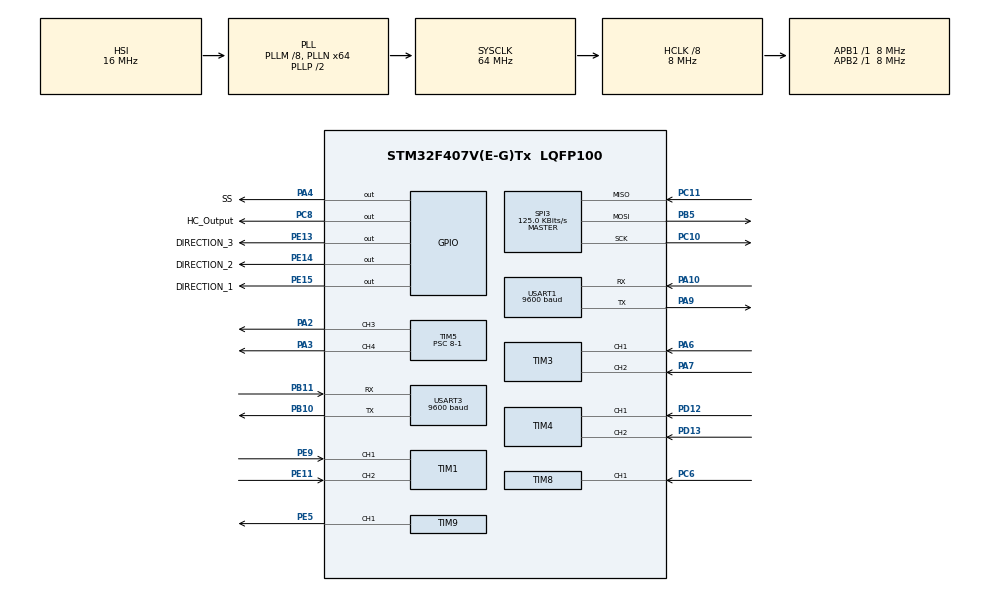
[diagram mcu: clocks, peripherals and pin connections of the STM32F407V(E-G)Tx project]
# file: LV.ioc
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FREERTOS.Queues01=AxisDesireQueue,20,uint8_t,0,Dynamic,NULL,NULL
FREERTOS.Tasks01=CONTROL,24,128,StartControl,Default,NULL,Dynamic,NULL,NULL;AxisXYDesire,24,128,StartAxisXYDesire,Default,NULL,Dynamic,NULL,NULL;AutoRun,48,128,StartAutoRun,Default,NULL,Dynamic,NULL,NULL;WitMotion,40,128,StartTaskWit,Default,NULL,Dynamic,NULL,NULL;myPID,24,128,StartPID,Default,NULL,Dynamic,NULL,NULL
FREERTOS.configGENERATE_RUN_TIME_STATS=1
FREERTOS.configRECORD_STACK_HIGH_ADDRESS=1
FREERTOS.configUSE_STATS_FORMATTING_FUNCTIONS=1
Mcu.Family=STM32F4
Mcu.Name=STM32F407V(E-G)Tx
Mcu.Package=LQFP100
NVIC.PriorityGroup=NVIC_PRIORITYGROUP_4
NVIC.TIM1_UP_TIM10_IRQn=true\:15\:0\:false\:false\:true\:false\:false\:true\:true
NVIC.TIM8_CC_IRQn=true\:5\:0\:false\:false\:true\:true\:true\:true\:true
NVIC.TimeBase=TIM1_UP_TIM10_IRQn
NVIC.TimeBaseIP=TIM10
NVIC.USART1_IRQn=true\:5\:0\:false\:false\:true\:true\:true\:true\:true
NVIC.USART3_IRQn=true\:5\:0\:false\:false\:true\:true\:true\:true\:true
PA10.Mode=Asynchronous
PA10.Signal=USART1_RX
PA13.Mode=Serial_Wire
PA13.Signal=SYS_JTMS-SWDIO
PA14.Mode=Serial_Wire
PA14.Signal=SYS_JTCK-SWCLK
PA2.Signal=S_TIM5_CH3
PA3.Signal=S_TIM5_CH4
PA4.GPIO_Label=SS
PA4.PinState=GPIO_PIN_RESET
PA4.Signal=GPIO_Output
PA6.Signal=S_TIM3_CH1
PA7.Signal=S_TIM3_CH2
PA9.Mode=Asynchronous
PA9.Signal=USART1_TX
PB10.Mode=Asynchronous
PB10.Signal=USART3_TX
PB11.Mode=Asynchronous
PB11.Signal=USART3_RX
PB5.Mode=Full_Duplex_Master
PB5.Signal=SPI3_MOSI
PC10.Mode=Full_Duplex_Master
PC10.Signal=SPI3_SCK
PC11.Mode=Full_Duplex_Master
PC11.Signal=SPI3_MISO
PC6.Signal=S_TIM8_CH1
PC8.GPIO_Label=HC_Output
PC8.Signal=GPIO_Output
PD12.Signal=S_TIM4_CH1
PD13.Signal=S_TIM4_CH2
PE11.Signal=S_TIM1_CH2
PE13.GPIO_Label=DIRECTION_3
PE13.Signal=GPIO_Output
PE14.GPIO_Label=DIRECTION_2
PE14.Signal=GPIO_Output
PE15.GPIO_Label=DIRECTION_1
PE15.Signal=GPIO_Output
PE5.Signal=S_TIM9_CH1
PE9.Signal=S_TIM1_CH1
PH0-OSC_IN.Mode=HSE-External-Oscillator
PH0-OSC_IN.Signal=RCC_OSC_IN
PH1-OSC_OUT.Mode=HSE-External-Oscillator
PH1-OSC_OUT.Signal=RCC_OSC_OUT
ProjectManager.HeapSize=0x200
ProjectManager.StackSize=0x400
ProjectManager.TargetToolchain=STM32CubeIDE
RCC.48MHZClocksFreq_Value=32000000
RCC.AHBCLKDivider=RCC_SYSCLK_DIV8
RCC.AHBFreq_Value=8000000
RCC.APB1Freq_Value=8000000
RCC.APB1TimFreq_Value=8000000
RCC.APB2Freq_Value=8000000
RCC.APB2TimFreq_Value=8000000
RCC.CortexFreq_Value=8000000
RCC.HCLKFreq_Value=8000000
RCC.HSE_VALUE=25000000
RCC.HSI_VALUE=16000000
RCC.LSE_VALUE=32768
RCC.PLLM=8
RCC.PLLN=64
RCC.SYSCLKFreq_VALUE=64000000
RCC.SYSCLKSource=RCC_SYSCLKSOURCE_PLLCLK
RCC.VCOOutputFreq_Value=128000000
SH.S_TIM1_CH1.0=TIM1_CH1,Encoder_Interface
SH.S_TIM1_CH2.0=TIM1_CH2,Encoder_Interface
SH.S_TIM3_CH1.0=TIM3_CH1,Encoder_Interface
SH.S_TIM3_CH2.0=TIM3_CH2,Encoder_Interface
SH.S_TIM4_CH1.0=TIM4_CH1,Encoder_Interface
SH.S_TIM4_CH2.0=TIM4_CH2,Encoder_Interface
SH.S_TIM5_CH3.0=TIM5_CH3,PWM Generation3 CH3
SH.S_TIM5_CH4.0=TIM5_CH4,PWM Generation4 CH4
SH.S_TIM8_CH1.0=TIM8_CH1,Input_Capture1_from_TI1
SH.S_TIM9_CH1.0=TIM9_CH1,PWM Generation1 CH1
SPI3.BaudRatePrescaler=SPI_BAUDRATEPRESCALER_64
SPI3.CLKPhase=SPI_PHASE_2EDGE
SPI3.CLKPolarity=SPI_POLARITY_HIGH
SPI3.CalculateBaudRate=125.0 KBits/s
SPI3.Direction=SPI_DIRECTION_2LINES
SPI3.FirstBit=SPI_FIRSTBIT_LSB
SPI3.Mode=SPI_MODE_MASTER
SPI3.VirtualNSS=VM_NSSHARD
SPI3.VirtualType=VM_MASTER
TIM1.EncoderMode=TIM_ENCODERMODE_TI12
TIM3.EncoderMode=TIM_ENCODERMODE_TI12
TIM4.EncoderMode=TIM_ENCODERMODE_TI12
TIM5.Channel-PWM\ Generation3\ CH3=TIM_CHANNEL_3
TIM5.Channel-PWM\ Generation4\ CH4=TIM_CHANNEL_4
TIM5.Period=100-1
TIM5.Prescaler=8-1
TIM8.Channel-Input_Capture1_from_TI1=TIM_CHANNEL_1
TIM8.Period=0xfff-1
TIM8.Prescaler=8-1
TIM9.Channel-PWM\ Generation1\ CH1=TIM_CHANNEL_1
TIM9.Period=100-1
TIM9.Prescaler=8-1
USART1.BaudRate=9600
USART1.Mode=MODE_RX
USART1.VirtualMode=VM_ASYNC
USART3.BaudRate=9600
USART3.VirtualMode=VM_ASYNC
VP_FREERTOS_VS_CMSIS_V2.Mode=CMSIS_V2
VP_SYS_VS_tim10.Mode=TIM10
VP_TIM5_VS_ClockSourceINT.Mode=Internal
VP_TIM8_VS_ClockSourceINT.Mode=Internal
VP_TIM9_VS_ClockSourceINT.Mode=Internal
board=custom

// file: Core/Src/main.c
/* USER CODE BEGIN Header */
/**
  ******************************************************************************
  * @file           : main.c
  * @brief          : Main program body
  ******************************************************************************
  * @attention
  *
  * Copyright (c) 2024 STMicroelectronics.
  * All rights reserved.
  *
  * This software is licensed under terms that can be found in the LICENSE file
  * in the root directory of this software component.
  * If no LICENSE file comes with this software, it is provided AS-IS.
  *
  ******************************************************************************
  */
/* USER CODE END Header */
#include "main.h"
#include "cmsis_os.h"

SPI_HandleTypeDef hspi3;

TIM_HandleTypeDef htim1;
TIM_HandleTypeDef htim3;
TIM_HandleTypeDef htim4;
TIM_HandleTypeDef htim5;
TIM_HandleTypeDef htim8;
TIM_HandleTypeDef htim9;

UART_HandleTypeDef huart1;
UART_HandleTypeDef huart3;

/* Definitions for CONTROL */
osThreadId_t CONTROLHandle;
const osThreadAttr_t CONTROL_attributes = {
  .name = "CONTROL",
  .stack_size = 128 * 4,
  .priority = (osPriority_t) osPriorityNormal,
};
/* Definitions for AxisXYDesire */
osThreadId_t AxisXYDesireHandle;
const osThreadAttr_t AxisXYDesire_attributes = {
  .name = "AxisXYDesire",
  .stack_size = 128 * 4,
  .priority = (osPriority_t) osPriorityNormal,
};
/* Definitions for AutoRun */
osThreadId_t AutoRunHandle;
const osThreadAttr_t AutoRun_attributes = {
  .name = "AutoRun",
  .stack_size = 128 * 4,
  .priority = (osPriority_t) osPriorityRealtime,
};
/* Definitions for WitMotion */
osThreadId_t WitMotionHandle;
const osThreadAttr_t WitMotion_attributes = {
  .name = "WitMotion",
  .stack_size = 128 * 4,
  .priority = (osPriority_t) osPriorityHigh,
};
/* Definitions for myPID */
osThreadId_t myPIDHandle;
const osThreadAttr_t myPID_attributes = {
  .name = "myPID",
  .stack_size = 128 * 4,
  .priority = (osPriority_t) osPriorityNormal,
};
/* Definitions for AxisDesireQueue */
osMessageQueueId_t AxisDesireQueueHandle;
const osMessageQueueAttr_t AxisDesireQueue_attributes = {
  .name = "AxisDesireQueue"
};

void SystemClock_Config(void);
static void MX_GPIO_Init(void);
static void MX_TIM1_Init(void);
static void MX_TIM3_Init(void);
static void MX_TIM4_Init(void);
static void MX_TIM5_Init(void);
static void MX_TIM9_Init(void);
static void MX_SPI3_Init(void);
static void MX_TIM8_Init(void);
static void MX_USART1_UART_Init(void);
static void MX_USART3_UART_Init(void);
void StartControl(void *argument);
void StartAxisXYDesire(void *argument);
void StartAutoRun(void *argument);
void StartTaskWit(void *argument);
void StartPID(void *argument);

/* USER CODE BEGIN 0 */
PID_Param_t pid;
double out_1, out_2, out_3=0;
double rpm_1, rpm_2, rpm_3=0;

volatile double Vd=0;
volatile double Theta=0;

uint8_t select_hand=5;
uint8_t flag_V_slow=true;
uint8_t rx_data;
uint8_t Dis;

uint8_t count=0;

/**---UART6 Interrupt--*/
//#ifdef __GNUC__
//#define PUTCHAR_PROTOTYPE int __io_putchar(int ch)
//#else
//#define PUTCHAR_PROTOTYPE int fputc(int ch, FILE *f)
//#endif
//
//PUTCHAR_PROTOTYPE
//{
//  HAL_UART_Transmit(&huart2, (uint8_t *)&ch, 1, HAL_MAX_DELAY);
//  return ch;
//}
/* USER CODE END 0 */

int main(void)
{

  /* MCU Configuration--------------------------------------------------------*/

  /* Reset of all peripherals, Initializes the Flash interface and the Systick. */
  HAL_Init();

  /* Configure the system clock */
  SystemClock_Config();

  /* Initialize all configured peripherals */
  MX_GPIO_Init();
  MX_TIM1_Init();
  MX_TIM3_Init();
  MX_TIM4_Init();
  MX_TIM5_Init();
  MX_TIM9_Init();
  MX_SPI3_Init();
  MX_TIM8_Init();
  MX_USART1_UART_Init();
  MX_USART3_UART_Init();
  /* USER CODE BEGIN 2 */
//  PCA9685_Init(&hi2c1);

  	__HAL_TIM_SetCompare(&htim5, TIM_CHANNEL_3, 100); //motor 1
  	__HAL_TIM_SetCompare(&htim5, TIM_CHANNEL_4, 100); //motor 2
  	__HAL_TIM_SetCompare(&htim9, TIM_CHANNEL_1, 100); //motor 3

    HAL_TIM_PWM_Start(&htim5, TIM_CHANNEL_3);
    HAL_TIM_PWM_Start(&htim5, TIM_CHANNEL_4);
    HAL_TIM_PWM_Start(&htim9, TIM_CHANNEL_1);

    HAL_TIM_Encoder_Start(&htim1, TIM_CHANNEL_1 | TIM_CHANNEL_2);
    HAL_TIM_Encoder_Start(&htim3, TIM_CHANNEL_1 | TIM_CHANNEL_2);
    HAL_TIM_Encoder_Start(&htim4, TIM_CHANNEL_1 | TIM_CHANNEL_2);

    HAL_TIM_IC_Start_IT(&htim8, TIM_CHANNEL_1);

//    UARTStdioConfig(USART2,true);

    __HAL_UART_ENABLE_IT(&huart1, UART_IT_RXNE);
    __HAL_UART_ENABLE_IT(&huart3, UART_IT_RXNE);

  /* USER CODE END 2 */

  /* Init scheduler */
  osKernelInitialize();

  /* Create the queue(s) */
  /* creation of AxisDesireQueue */
  AxisDesireQueueHandle = osMessageQueueNew (20, sizeof(uint8_t), &AxisDesireQueue_attributes);

  /* Create the thread(s) */
  /* creation of CONTROL */
  CONTROLHandle = osThreadNew(StartControl, NULL, &CONTROL_attributes);

  /* creation of AxisXYDesire */
  AxisXYDesireHandle = osThreadNew(StartAxisXYDesire, NULL, &AxisXYDesire_attributes);

  /* creation of AutoRun */
  AutoRunHandle = osThreadNew(StartAutoRun, NULL, &AutoRun_attributes);

  /* creation of WitMotion */
  WitMotionHandle = osThreadNew(StartTaskWit, NULL, &WitMotion_attributes);

  /* creation of myPID */
  myPIDHandle = osThreadNew(StartPID, NULL, &myPID_attributes);

  /* Start scheduler */
  osKernelStart();

  /* We should never get here as control is now taken by the scheduler */
  /* Infinite loop */
  while (1)
  {

  }
}

void SystemClock_Config(void)
{
  RCC_OscInitTypeDef RCC_OscInitStruct = {0};
  RCC_ClkInitTypeDef RCC_ClkInitStruct = {0};

  /** Configure the main internal regulator output voltage
  */
  __HAL_RCC_PWR_CLK_ENABLE();
  __HAL_PWR_VOLTAGESCALING_CONFIG(PWR_REGULATOR_VOLTAGE_SCALE1);

  /** Initializes the RCC Oscillators according to the specified parameters
  * in the RCC_OscInitTypeDef structure.
  */
  RCC_OscInitStruct.OscillatorType = RCC_OSCILLATORTYPE_HSI;
  RCC_OscInitStruct.HSIState = RCC_HSI_ON;
  RCC_OscInitStruct.HSICalibrationValue = RCC_HSICALIBRATION_DEFAULT;
  RCC_OscInitStruct.PLL.PLLState = RCC_PLL_ON;
  RCC_OscInitStruct.PLL.PLLSource = RCC_PLLSOURCE_HSI;
  RCC_OscInitStruct.PLL.PLLM = 8;
  RCC_OscInitStruct.PLL.PLLN = 64;
  RCC_OscInitStruct.PLL.PLLP = RCC_PLLP_DIV2;
  RCC_OscInitStruct.PLL.PLLQ = 4;
  if (HAL_RCC_OscConfig(&RCC_OscInitStruct) != HAL_OK)
  {
    Error_Handler();
  }

  /** Initializes the CPU, AHB and APB buses clocks
  */
  RCC_ClkInitStruct.ClockType = RCC_CLOCKTYPE_HCLK|RCC_CLOCKTYPE_SYSCLK
                              |RCC_CLOCKTYPE_PCLK1|RCC_CLOCKTYPE_PCLK2;
  RCC_ClkInitStruct.SYSCLKSource = RCC_SYSCLKSOURCE_PLLCLK;
  RCC_ClkInitStruct.AHBCLKDivider = RCC_SYSCLK_DIV8;
  RCC_ClkInitStruct.APB1CLKDivider = RCC_HCLK_DIV1;
  RCC_ClkInitStruct.APB2CLKDivider = RCC_HCLK_DIV1;

  if (HAL_RCC_ClockConfig(&RCC_ClkInitStruct, FLASH_LATENCY_0) != HAL_OK)
  {
    Error_Handler();
  }
}

static void MX_SPI3_Init(void)
{

  /* SPI3 parameter configuration*/
  hspi3.Instance = SPI3;
  hspi3.Init.Mode = SPI_MODE_MASTER;
  hspi3.Init.Direction = SPI_DIRECTION_2LINES;
  hspi3.Init.DataSize = SPI_DATASIZE_8BIT;
  hspi3.Init.CLKPolarity = SPI_POLARITY_HIGH;
  hspi3.Init.CLKPhase = SPI_PHASE_2EDGE;
  hspi3.Init.NSS = SPI_NSS_SOFT;
  hspi3.Init.BaudRatePrescaler = SPI_BAUDRATEPRESCALER_64;
  hspi3.Init.FirstBit = SPI_FIRSTBIT_LSB;
  hspi3.Init.TIMode = SPI_TIMODE_DISABLE;
  hspi3.Init.CRCCalculation = SPI_CRCCALCULATION_DISABLE;
  hspi3.Init.CRCPolynomial = 10;
  if (HAL_SPI_Init(&hspi3) != HAL_OK)
  {
    Error_Handler();
  }

}

static void MX_TIM1_Init(void)
{

  TIM_Encoder_InitTypeDef sConfig = {0};
  TIM_MasterConfigTypeDef sMasterConfig = {0};

  htim1.Instance = TIM1;
  htim1.Init.Prescaler = 0;
  htim1.Init.CounterMode = TIM_COUNTERMODE_UP;
  htim1.Init.Period = 65535;
  htim1.Init.ClockDivision = TIM_CLOCKDIVISION_DIV1;
  htim1.Init.RepetitionCounter = 0;
  htim1.Init.AutoReloadPreload = TIM_AUTORELOAD_PRELOAD_DISABLE;
  sConfig.EncoderMode = TIM_ENCODERMODE_TI12;
  sConfig.IC1Polarity = TIM_ICPOLARITY_RISING;
  sConfig.IC1Selection = TIM_ICSELECTION_DIRECTTI;
  sConfig.IC1Prescaler = TIM_ICPSC_DIV1;
  sConfig.IC1Filter = 0;
  sConfig.IC2Polarity = TIM_ICPOLARITY_RISING;
  sConfig.IC2Selection = TIM_ICSELECTION_DIRECTTI;
  sConfig.IC2Prescaler = TIM_ICPSC_DIV1;
  sConfig.IC2Filter = 0;
  if (HAL_TIM_Encoder_Init(&htim1, &sConfig) != HAL_OK)
  {
    Error_Handler();
  }
  sMasterConfig.MasterOutputTrigger = TIM_TRGO_RESET;
  sMasterConfig.MasterSlaveMode = TIM_MASTERSLAVEMODE_DISABLE;
  if (HAL_TIMEx_MasterConfigSynchronization(&htim1, &sMasterConfig) != HAL_OK)
  {
    Error_Handler();
  }

}

static void MX_TIM3_Init(void)
{

  TIM_Encoder_InitTypeDef sConfig = {0};
  TIM_MasterConfigTypeDef sMasterConfig = {0};

  htim3.Instance = TIM3;
  htim3.Init.Prescaler = 0;
  htim3.Init.CounterMode = TIM_COUNTERMODE_UP;
  htim3.Init.Period = 65535;
  htim3.Init.ClockDivision = TIM_CLOCKDIVISION_DIV1;
  htim3.Init.AutoReloadPreload = TIM_AUTORELOAD_PRELOAD_DISABLE;
  sConfig.EncoderMode = TIM_ENCODERMODE_TI12;
  sConfig.IC1Polarity = TIM_ICPOLARITY_RISING;
  sConfig.IC1Selection = TIM_ICSELECTION_DIRECTTI;
  sConfig.IC1Prescaler = TIM_ICPSC_DIV1;
  sConfig.IC1Filter = 0;
  sConfig.IC2Polarity = TIM_ICPOLARITY_RISING;
  sConfig.IC2Selection = TIM_ICSELECTION_DIRECTTI;
  sConfig.IC2Prescaler = TIM_ICPSC_DIV1;
  sConfig.IC2Filter = 0;
  if (HAL_TIM_Encoder_Init(&htim3, &sConfig) != HAL_OK)
  {
    Error_Handler();
  }
  sMasterConfig.MasterOutputTrigger = TIM_TRGO_RESET;
  sMasterConfig.MasterSlaveMode = TIM_MASTERSLAVEMODE_DISABLE;
  if (HAL_TIMEx_MasterConfigSynchronization(&htim3, &sMasterConfig) != HAL_OK)
  {
    Error_Handler();
  }

}

static void MX_TIM4_Init(void)
{

  TIM_Encoder_InitTypeDef sConfig = {0};
  TIM_MasterConfigTypeDef sMasterConfig = {0};

  htim4.Instance = TIM4;
  htim4.Init.Prescaler = 0;
  htim4.Init.CounterMode = TIM_COUNTERMODE_UP;
  htim4.Init.Period = 65535;
  htim4.Init.ClockDivision = TIM_CLOCKDIVISION_DIV1;
  htim4.Init.AutoReloadPreload = TIM_AUTORELOAD_PRELOAD_DISABLE;
  sConfig.EncoderMode = TIM_ENCODERMODE_TI12;
  sConfig.IC1Polarity = TIM_ICPOLARITY_RISING;
  sConfig.IC1Selection = TIM_ICSELECTION_DIRECTTI;
  sConfig.IC1Prescaler = TIM_ICPSC_DIV1;
  sConfig.IC1Filter = 0;
  sConfig.IC2Polarity = TIM_ICPOLARITY_RISING;
  sConfig.IC2Selection = TIM_ICSELECTION_DIRECTTI;
  sConfig.IC2Prescaler = TIM_ICPSC_DIV1;
  sConfig.IC2Filter = 0;
  if (HAL_TIM_Encoder_Init(&htim4, &sConfig) != HAL_OK)
  {
    Error_Handler();
  }
  sMasterConfig.MasterOutputTrigger = TIM_TRGO_RESET;
  sMasterConfig.MasterSlaveMode = TIM_MASTERSLAVEMODE_DISABLE;
  if (HAL_TIMEx_MasterConfigSynchronization(&htim4, &sMasterConfig) != HAL_OK)
  {
    Error_Handler();
  }

}

static void MX_TIM5_Init(void)
{

  TIM_ClockConfigTypeDef sClockSourceConfig = {0};
  TIM_MasterConfigTypeDef sMasterConfig = {0};
  TIM_OC_InitTypeDef sConfigOC = {0};

  htim5.Instance = TIM5;
  htim5.Init.Prescaler = 8-1;
  htim5.Init.CounterMode = TIM_COUNTERMODE_UP;
  htim5.Init.Period = 100-1;
  htim5.Init.ClockDivision = TIM_CLOCKDIVISION_DIV1;
  htim5.Init.AutoReloadPreload = TIM_AUTORELOAD_PRELOAD_DISABLE;
  if (HAL_TIM_Base_Init(&htim5) != HAL_OK)
  {
    Error_Handler();
  }
  sClockSourceConfig.ClockSource = TIM_CLOCKSOURCE_INTERNAL;
  if (HAL_TIM_ConfigClockSource(&htim5, &sClockSourceConfig) != HAL_OK)
  {
    Error_Handler();
  }
  if (HAL_TIM_PWM_Init(&htim5) != HAL_OK)
  {
    Error_Handler();
  }
  sMasterConfig.MasterOutputTrigger = TIM_TRGO_RESET;
  sMasterConfig.MasterSlaveMode = TIM_MASTERSLAVEMODE_DISABLE;
  if (HAL_TIMEx_MasterConfigSynchronization(&htim5, &sMasterConfig) != HAL_OK)
  {
    Error_Handler();
  }
  sConfigOC.OCMode = TIM_OCMODE_PWM1;
  sConfigOC.Pulse = 0;
  sConfigOC.OCPolarity = TIM_OCPOLARITY_HIGH;
  sConfigOC.OCFastMode = TIM_OCFAST_DISABLE;
  if (HAL_TIM_PWM_ConfigChannel(&htim5, &sConfigOC, TIM_CHANNEL_3) != HAL_OK)
  {
    Error_Handler();
  }
  if (HAL_TIM_PWM_ConfigChannel(&htim5, &sConfigOC, TIM_CHANNEL_4) != HAL_OK)
  {
    Error_Handler();
  }
  HAL_TIM_MspPostInit(&htim5);

}

static void MX_TIM8_Init(void)
{

  TIM_ClockConfigTypeDef sClockSourceConfig = {0};
  TIM_MasterConfigTypeDef sMasterConfig = {0};
  TIM_IC_InitTypeDef sConfigIC = {0};

  htim8.Instance = TIM8;
  htim8.Init.Prescaler = 8-1;
  htim8.Init.CounterMode = TIM_COUNTERMODE_UP;
  htim8.Init.Period = 0xfff-1;
  htim8.Init.ClockDivision = TIM_CLOCKDIVISION_DIV1;
  htim8.Init.RepetitionCounter = 0;
  htim8.Init.AutoReloadPreload = TIM_AUTORELOAD_PRELOAD_DISABLE;
  if (HAL_TIM_Base_Init(&htim8) != HAL_OK)
  {
    Error_Handler();
  }
  sClockSourceConfig.ClockSource = TIM_CLOCKSOURCE_INTERNAL;
  if (HAL_TIM_ConfigClockSource(&htim8, &sClockSourceConfig) != HAL_OK)
  {
    Error_Handler();
  }
  if (HAL_TIM_IC_Init(&htim8) != HAL_OK)
  {
    Error_Handler();
  }
  sMasterConfig.MasterOutputTrigger = TIM_TRGO_RESET;
  sMasterConfig.MasterSlaveMode = TIM_MASTERSLAVEMODE_DISABLE;
  if (HAL_TIMEx_MasterConfigSynchronization(&htim8, &sMasterConfig) != HAL_OK)
  {
    Error_Handler();
  }
  sConfigIC.ICPolarity = TIM_INPUTCHANNELPOLARITY_RISING;
  sConfigIC.ICSelection = TIM_ICSELECTION_DIRECTTI;
  sConfigIC.ICPrescaler = TIM_ICPSC_DIV1;
  sConfigIC.ICFilter = 0;
  if (HAL_TIM_IC_ConfigChannel(&htim8, &sConfigIC, TIM_CHANNEL_1) != HAL_OK)
  {
    Error_Handler();
  }

}

static void MX_TIM9_Init(void)
{

  TIM_ClockConfigTypeDef sClockSourceConfig = {0};
  TIM_OC_InitTypeDef sConfigOC = {0};

  htim9.Instance = TIM9;
  htim9.Init.Prescaler = 8-1;
  htim9.Init.CounterMode = TIM_COUNTERMODE_UP;
  htim9.Init.Period = 100-1;
  htim9.Init.ClockDivision = TIM_CLOCKDIVISION_DIV1;
  htim9.Init.AutoReloadPreload = TIM_AUTORELOAD_PRELOAD_DISABLE;
  if (HAL_TIM_Base_Init(&htim9) != HAL_OK)
  {
    Error_Handler();
  }
  sClockSourceConfig.ClockSource = TIM_CLOCKSOURCE_INTERNAL;
  if (HAL_TIM_ConfigClockSource(&htim9, &sClockSourceConfig) != HAL_OK)
  {
    Error_Handler();
  }
  if (HAL_TIM_PWM_Init(&htim9) != HAL_OK)
  {
    Error_Handler();
  }
  sConfigOC.OCMode = TIM_OCMODE_PWM1;
  sConfigOC.Pulse = 0;
  sConfigOC.OCPolarity = TIM_OCPOLARITY_HIGH;
  sConfigOC.OCFastMode = TIM_OCFAST_DISABLE;
  if (HAL_TIM_PWM_ConfigChannel(&htim9, &sConfigOC, TIM_CHANNEL_1) != HAL_OK)
  {
    Error_Handler();
  }
  HAL_TIM_MspPostInit(&htim9);

}

static void MX_USART1_UART_Init(void)
{

  huart1.Instance = USART1;
  huart1.Init.BaudRate = 9600;
  huart1.Init.WordLength = UART_WORDLENGTH_8B;
  huart1.Init.StopBits = UART_STOPBITS_1;
  huart1.Init.Parity = UART_PARITY_NONE;
  huart1.Init.Mode = UART_MODE_RX;
  huart1.Init.HwFlowCtl = UART_HWCONTROL_NONE;
  huart1.Init.OverSampling = UART_OVERSAMPLING_16;
  if (HAL_UART_Init(&huart1) != HAL_OK)
  {
    Error_Handler();
  }

}

static void MX_USART3_UART_Init(void)
{

  huart3.Instance = USART3;
  huart3.Init.BaudRate = 9600;
  huart3.Init.WordLength = UART_WORDLENGTH_8B;
  huart3.Init.StopBits = UART_STOPBITS_1;
  huart3.Init.Parity = UART_PARITY_NONE;
  huart3.Init.Mode = UART_MODE_TX_RX;
  huart3.Init.HwFlowCtl = UART_HWCONTROL_NONE;
  huart3.Init.OverSampling = UART_OVERSAMPLING_16;
  if (HAL_UART_Init(&huart3) != HAL_OK)
  {
    Error_Handler();
  }

}

static void MX_GPIO_Init(void)
{
  GPIO_InitTypeDef GPIO_InitStruct = {0};

  /* GPIO Ports Clock Enable */
  __HAL_RCC_GPIOE_CLK_ENABLE();
  __HAL_RCC_GPIOH_CLK_ENABLE();
  __HAL_RCC_GPIOA_CLK_ENABLE();
  __HAL_RCC_GPIOB_CLK_ENABLE();
  __HAL_RCC_GPIOD_CLK_ENABLE();
  __HAL_RCC_GPIOC_CLK_ENABLE();

  /*Configure GPIO pin Output Level */
  HAL_GPIO_WritePin(SS_GPIO_Port, SS_Pin, GPIO_PIN_RESET);

  /*Configure GPIO pin Output Level */
  HAL_GPIO_WritePin(GPIOE, DIRECTION_3_Pin|DIRECTION_2_Pin|DIRECTION_1_Pin, GPIO_PIN_RESET);

  /*Configure GPIO pin Output Level */
  HAL_GPIO_WritePin(HC_Output_GPIO_Port, HC_Output_Pin, GPIO_PIN_RESET);

  /*Configure GPIO pin : SS_Pin */
  GPIO_InitStruct.Pin = SS_Pin;
  GPIO_InitStruct.Mode = GPIO_MODE_OUTPUT_PP;
  GPIO_InitStruct.Pull = GPIO_NOPULL;
  GPIO_InitStruct.Speed = GPIO_SPEED_FREQ_LOW;
  HAL_GPIO_Init(SS_GPIO_Port, &GPIO_InitStruct);

  /*Configure GPIO pins : DIRECTION_3_Pin DIRECTION_2_Pin DIRECTION_1_Pin */
  GPIO_InitStruct.Pin = DIRECTION_3_Pin|DIRECTION_2_Pin|DIRECTION_1_Pin;
  GPIO_InitStruct.Mode = GPIO_MODE_OUTPUT_PP;
  GPIO_InitStruct.Pull = GPIO_NOPULL;
  GPIO_InitStruct.Speed = GPIO_SPEED_FREQ_LOW;
  HAL_GPIO_Init(GPIOE, &GPIO_InitStruct);

  /*Configure GPIO pin : HC_Output_Pin */
  GPIO_InitStruct.Pin = HC_Output_Pin;
  GPIO_InitStruct.Mode = GPIO_MODE_OUTPUT_PP;
  GPIO_InitStruct.Pull = GPIO_NOPULL;
  GPIO_InitStruct.Speed = GPIO_SPEED_FREQ_LOW;
  HAL_GPIO_Init(HC_Output_GPIO_Port, &GPIO_InitStruct);

}

/* USER CODE BEGIN 4 */
char Set_Default[] = "Enter the start value:\n";
char Desired[] = "Enter the desired value:\n";
char Repeated[] = "The process is repeated:\n";
char NotRepeated[] = "The process is not repeated:\n";
char Go[] = "Start!\n";
char Restart[] = "Restart!\n";
char Pause[] = "Pause!\n";
char errorValue[] = "Error Value!\n";
char GoTo[] = "Go to:";
void Trans(int16_t x, int16_t y){
	char data_trans[10];
	int len;

	len = sprintf(data_trans, "%d %d\n", x, y);
	HAL_UART_Transmit(&huart3, (uint8_t*)&data_trans, len,delay_trans);
}
/* USER CODE END 4 */

/* USER CODE BEGIN Header_StartControl */
/**
  * @brief  Function implementing the CONTROL thread.
  * @param  argument: Not used
  * @retval None
  */
void Moving(uint8_t PSX_RX, double Vd, double Theta){
	if(flag_V_slow==true) Vd /= 500.0f;
	else if(flag_V_slow==false) Vd /= 300.0f;
	Robot_Move(Vd, Theta,0);
	switch(PSX_RX){
	case Rotate_Right:
		Robot_Move(0, 0, -0.3);
		break;
	case Rotate_Left:
		Robot_Move(0, 0, 0.3);
		break;
	}
}
void Hand(uint8_t PSX_RX){
	switch(PSX_RX){
	case Fast:
		flag_V_slow=false;
		break;
	case Slow:
		flag_V_slow=true;
		break;
	}

}
void Calculate_angle(double LX, double LY) {

    double angle_rad = atan(LY / LX);
    Theta = angle_rad * (180.0f / PI)-30.0f;
    if(LX < 0)Theta += 180.0f;
    if(LX >= 0 && LY < 0)Theta += 360.0f;
    if(Theta<0) Theta+=360.0f;
}

void Calculate_Vd(uint8_t PSX_RX[]){
	int16_t LX=PSX_RX[7];
	int16_t LY=PSX_RX[8];

	LX=LX-128;
	LY=127-LY;

	Vd=(fabs(LX)>=fabs(LY))?fabs(LX):fabs(LY);
	if(Vd<50) Vd=0;
	Calculate_angle((double)LX, (double)LY);
}
/* USER CODE END Header_StartControl */
void StartControl(void *argument)
{
  /* USER CODE BEGIN 5 */

  /* Infinite loop */
  for(;;)
  {

	uint8_t PSX_RX[9]= { 0x00 };
	uint8_t PSX_TX[2] = {
		0x01, 0x42
	};
	spi_enable;
	HAL_SPI_TransmitReceive(&hspi3, PSX_TX, PSX_RX, 9, 10);
	spi_disable;
	if(PSX_RX[1]==0x73){
		vTaskSuspend(AutoRunHandle);
		vTaskSuspend(WitMotionHandle);

		Calculate_Vd(PSX_RX);
		Hand(PSX_RX[4]);
		Moving(PSX_RX[3],Vd,Theta);
	} else{
		vTaskResume(AutoRunHandle);
		vTaskResume(WitMotionHandle);

	}

		osDelay(10);

  }
  /* USER CODE END 5 */
}

/* USER CODE BEGIN Header_StartAxisXYDesire */
/**
* @brief Function implementing the AxisXYDesire thread.
* @param argument: Not used
* @retval None
*/

int16_t X_desire[N]={0};
int16_t Y_desire[N]={0};
int16_t X_real[1]={0};
int16_t Y_real[1]={0};

bool repeat=false;
bool pause=false;
bool restart=false;
bool runDone=true;

uint8_t X_pause[N]={0};
int8_t buff[50];

uint8_t idx=1;
int8_t idx_real=0;

volatile uint32_t timeToRun;

static state_t State=FIRST;
static run_t Run=NO;
void timeRun(run_t state, int16_t Big, int16_t Small){
	Run=state;
	timeToRun=(int32_t)(Big-Small)*(int32_t)speed;
	/*
	 * speed la thoi gian hoan thanh 1m (ms)
	 * thoi gian chay bang quang duong * speed
	 * */
	runDone=false;
//	vTaskSuspend(AutoRunHandle);
}
int convertToNegative(int number) {
    return -number;
}
void Caculate_Desire(int16_t desire[], uint8_t idx, int8_t buff[]){
	desire[idx]=0;
	int i = 0;
	bool negative=false;
	if(buff[0]=='-'){
		negative=true;
		i=1;
	}
	else{
		negative=false;
		i=0;
	}

	for(;i < count; i++) {
		desire[idx] = desire[idx] * 10 + buff[i];
	}

	if(negative) desire[idx] = convertToNegative(desire[idx]);
	count=0;
}
void Begin(void){
	if(idx_real<=(idx-1)){
		if(X_pause[idx_real]){
			HAL_UART_Transmit(&huart3, (uint8_t*)&Pause, sizeof(Pause)-1,delay_trans);
			State=PAUSE;
			pause=true;
			idx_real++;
		}
		else{
			if(Y_desire[idx_real]==Y_real[0]){
				if(X_desire[idx_real]>X_real[0]){
					timeRun(FORWARD, X_desire[idx_real], X_real[0]);
				}else if(X_desire[idx_real]<X_real[0]){
					timeRun(BACKWARD, X_real[0], X_desire[idx_real]);
				}
			}
			else if(X_desire[idx_real]==X_real[0]){
				if(Y_desire[idx_real]>Y_real[0]){
					timeRun(RIGHT, Y_desire[idx_real], Y_real[0]);
				}else if(Y_desire[idx_real]<Y_real[0]){
					timeRun(LEFT, Y_real[0], Y_desire[idx_real]);
				}
			}
			HAL_UART_Transmit(&huart3, (uint8_t*)&GoTo, sizeof(GoTo)-1,delay_trans);
			Trans(X_desire[idx_real], Y_desire[idx_real]);

			X_real[0]=X_desire[idx_real];
			Y_real[0]=Y_desire[idx_real];
			idx_real++;
		}
	}
	else if(idx >1){
		if(!repeat){
			HAL_UART_Transmit(&huart3, (uint8_t*)&Pause, sizeof(Pause)-1,delay_trans);
			State=PAUSE;
		}
		if(repeat){
			HAL_UART_Transmit(&huart3, (uint8_t*)&Repeated, sizeof(Repeated)-1,delay_trans);
			State=REPEAT;
		}
	}
}
void SetDefault(msgQueueObj_t msg, int16_t *X_real, int16_t *Y_real){
	if((msg.buffer)!='\n'&&(msg.buffer)!=' '){
		if((msg.buffer)=='-'){
			buff[count]=msg.buffer;

			count++;
		}
		else if(isdigit((int)msg.buffer)){
			buff[count]=(msg.buffer-'0');
			count++;
		}
	}
	else if((msg.buffer)==' '&& count!=0){
		Caculate_Desire(X_real, 0, buff);
		X_desire[0]=X_real[0];
	}
	else if((msg.buffer)=='\n' && count!=0){
		Caculate_Desire(Y_real, 0, buff);
		Y_desire[0]=Y_real[0];
		Trans(X_real[0], Y_real[0]);
		memset(buff,0,sizeof(buff));
	}
}
void Desire(msgQueueObj_t msg){
	if(pause){
		X_pause[idx]=1;
		idx==N-1?idx=1:idx++;
		pause=!pause;
		return;
	}
	if((msg.buffer)!='\n'&&(msg.buffer)!=' '){
		if((msg.buffer)=='-'){
			buff[count]=msg.buffer;

			count++;
		}
		else if(isdigit((int)msg.buffer)){
			buff[count]=(msg.buffer-'0');
			count++;
		}
	}
	else if((msg.buffer)==' '&& count!=0){
		Caculate_Desire(X_desire, idx, buff);
	}
	else if((msg.buffer)=='\n' && count!=0){
		Caculate_Desire(Y_desire, idx, buff);

		if(X_desire[idx]!=X_desire[idx-1] && Y_desire[idx]!=Y_desire[idx-1]){
			HAL_UART_Transmit(&huart3, (uint8_t*)&errorValue, sizeof(errorValue)-1,delay_trans);
			return;
		}
		Trans(X_desire[idx], Y_desire[idx]);
		memset(buff,0,sizeof(buff));
		if(idx==N-1) idx=1;
		else idx++;
	}
}

/* USER CODE END Header_StartAxisXYDesire */
void StartAxisXYDesire(void *argument)
{
  /* USER CODE BEGIN StartAxisXYDesire */
	uint32_t count;
	msgQueueObj_t msg;
	osStatus_t status=osError;
  /* Infinite loop */
  for(;;)
  {
	count = osMessageQueueGetCount(AxisDesireQueueHandle);
	if(count >0 ) status = osMessageQueueGet(AxisDesireQueueHandle, &msg.buffer, NULL, delay_trans);   // wait for message
	else 	msg.buffer='\0';
	if (status == osOK) {
		if(isalpha((int)msg.buffer)){
			if(msg.buffer=='f'){
				HAL_UART_Transmit(&huart3, (uint8_t*)&Set_Default, sizeof(Set_Default)-1,delay_trans);
				State=FIRST;
			}
			if(msg.buffer=='d'){
				HAL_UART_Transmit(&huart3, (uint8_t*)&Desired, sizeof(Desired)-1,delay_trans);
				State=DESIRE;
			}
			else if(msg.buffer=='r'){
				if(!repeat)HAL_UART_Transmit(&huart3, (uint8_t*)&Repeated, sizeof(Repeated)-1,delay_trans);
				if(repeat) HAL_UART_Transmit(&huart3, (uint8_t*)&NotRepeated, sizeof(NotRepeated)-1,delay_trans);
				repeat=!repeat;
			}
			else if(msg.buffer=='g'){
				HAL_UART_Transmit(&huart3, (uint8_t*)&Go, sizeof(Go)-1,delay_trans);
				State=GO;
			}
			else if(msg.buffer=='s'){
				HAL_UART_Transmit(&huart3, (uint8_t*)&Restart, sizeof(Restart)-1,delay_trans);
				restart=true;
				State=RESTART;
			}
			else if(msg.buffer=='p'){
				HAL_UART_Transmit(&huart3, (uint8_t*)&Pause, sizeof(Pause)-1,delay_trans);
				if(State==GO) State=PAUSE;
				pause=true;
			}
		}
	}
	switch(State){
	case FIRST:
		SetDefault(msg, X_real, Y_real);
		break;
	case DESIRE:
		Desire(msg);
		break;
	case REPEAT:
		idx_real=0;
		State=GO;
		break;
	case GO:
		pause = false;
		if(runDone){
			Begin();
		}
		break;
	case PAUSE:
		break;
	case RESTART:
		memset(X_desire,0,sizeof(X_desire));
		memset(Y_desire,0,sizeof(Y_desire));
		memset(X_pause,0,sizeof(X_pause));

		X_real[0]=0;
		Y_real[0]=0;

		pause = false;
		idx=1; idx_real=0;
		repeat=false;
		break;
	}
    osDelay(1);
  }
  /* USER CODE END StartAxisXYDesire */
}

/* USER CODE BEGIN Header_StartAutoRun */
/**
* @brief Function implementing the AutoRun thread.
* @param argument: Not used
* @retval None
*/
static uint32_t updateTimeToRun=0;
static uint8_t flag_dr=donot;

void Caculate_Run(){
	if(restart){
		Robot_Move(0, 0, 0);
		Run=NO;
		return;
	}
	if(pause){
		Robot_Move(0, 0, 0);
		return;
	}
	if(flag_dr==right || flag_dr==left){
		return;
	}
	if(updateTimeToRun<=timeToRun ){
		Robot_Move(0.2, 60, 0);
		updateTimeToRun+=ticktak;
	}
	else{
		Run=NO;
	}

}
/* USER CODE END Header_StartAutoRun */
void StartAutoRun(void *argument)
{
  /* USER CODE BEGIN StartAutoRun */
  /* Infinite loop */
  for(;;)
  {
	switch(Run){
	case FORWARD:
		Caculate_Run();
		break;
	case BACKWARD:
		Caculate_Run();
		break;
	case RIGHT:
		Caculate_Run();
		break;
	case LEFT:
		Caculate_Run();
		break;
	case NO:
		runDone=true;
		updateTimeToRun=0;
		restart=false;
		break;
	}
	osDelay(ticktak);
  }
  /* USER CODE END StartAutoRun */
}

/* USER CODE BEGIN Header_StartTaskWit */
/**
* @brief Function implementing the WitMotion thread.
* @param argument: Not used
* @retval None
*/
int16_t angle_desire=0;
int16_t diff;
/* USER CODE END Header_StartTaskWit */
void StartTaskWit(void *argument)
{
  /* USER CODE BEGIN StartTaskWit */
  /* Infinite loop */
  for(;;)
  {
	switch(Run){
	case FORWARD:
		angle_desire=0;
		break;
	case BACKWARD:
		angle_desire=-179;
		break;
	case RIGHT:
		angle_desire=-90;
		break;
	case LEFT:
		angle_desire=90;
		break;
	case NO:
		break;
	}
//	UARTprintf("angle z: %d \r\n",angle_real.z);
	if(Run==BACKWARD){
		if (angle_real.z >= 0) diff=fabs(179 - angle_real.z);
		else diff=fabs(-179 - angle_real.z);
	}
	else diff=fabs(angle_desire - angle_real.z);

	if(pause==true || runDone == true){
		flag_dr=no;
	}
	else if(Run==BACKWARD && ((angle_real.z >= 179 - tolerance) || (angle_real.z <= -179 + tolerance))){
		flag_dr=donot;
	}
	else if(Run!=BACKWARD && angle_real.z >= angle_desire-tolerance && angle_real.z <= angle_desire+tolerance){
		flag_dr=donot;
	}
	else if(angle_real.z > angle_desire+tolerance ){
		if(diff <= 180) flag_dr=right;
		else flag_dr=left;
	}
	else if(angle_real.z < angle_desire-tolerance){
		if(diff <= 180) flag_dr=left;
		else flag_dr=right;
	}

	if (flag_dr==no){
		Robot_Move(0, 0, 0);
	}
	else if (flag_dr==donot){
		vTaskResume(AutoRunHandle);
	}
	else if(flag_dr==right){
		vTaskSuspend(AutoRunHandle);
		if(diff>=40) Robot_Move(0, 0, -0.2);
		else Robot_Move(0, 0, -0.025);
	}
	else if(flag_dr==left){
		vTaskSuspend(AutoRunHandle);
		if(diff>=40) Robot_Move(0, 0, 0.2);
		else Robot_Move(0, 0, 0.025);
	}
	osDelay(50);
  }
  /* USER CODE END StartTaskWit */
}

void StartPID(void *argument)
{
  /* USER CODE BEGIN StartPID */
  /* Infinite loop */
  for(;;)
  {
//	  PID();
    osDelay(100);
  }
  /* USER CODE END StartPID */
}

void HAL_TIM_PeriodElapsedCallback(TIM_HandleTypeDef *htim)
{
  if (htim->Instance == TIM10) {
    HAL_IncTick();
  }
}

void Error_Handler(void)
{
  __disable_irq();
  while (1)
  {
  }
}
